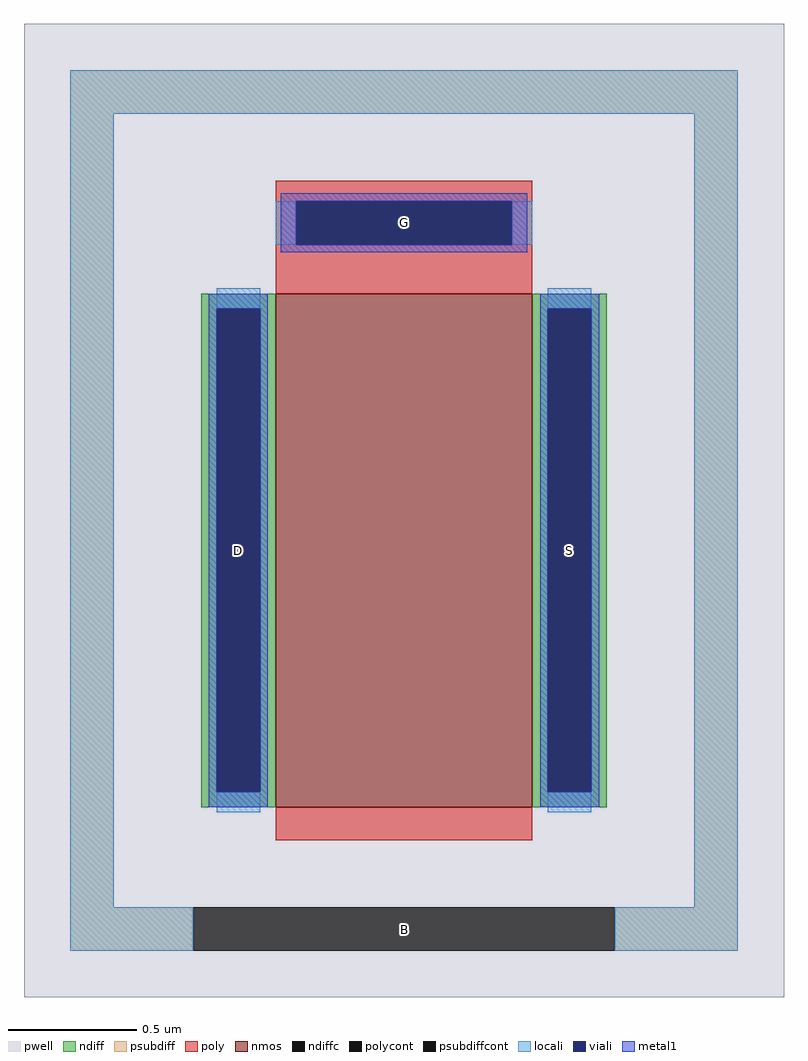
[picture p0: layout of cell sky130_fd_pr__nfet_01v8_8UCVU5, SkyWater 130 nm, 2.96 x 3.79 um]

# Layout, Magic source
magic
tech sky130A
magscale 1 2
<< pwell >>
rect -296 -379 296 379
<< nmos >>
rect -100 -231 100 169
<< ndiff >>
rect -158 157 -100 169
rect -158 -219 -146 157
rect -112 -219 -100 157
rect -158 -231 -100 -219
rect 100 157 158 169
rect 100 -219 112 157
rect 146 -219 158 157
rect 100 -231 158 -219
<< ndiffc >>
rect -146 -219 -112 157
rect 112 -219 146 157
<< psubdiff >>
rect -260 309 260 343
rect -260 -309 -226 309
rect 226 -309 260 309
rect -260 -343 -164 -309
rect 164 -343 260 -309
<< psubdiffcont >>
rect -164 -343 164 -309
<< poly >>
rect -100 241 100 257
rect -100 207 -84 241
rect 84 207 100 241
rect -100 169 100 207
rect -100 -257 100 -231
<< polycont >>
rect -84 207 84 241
<< locali >>
rect -260 309 260 343
rect -260 -309 -226 309
rect -100 207 -84 241
rect 84 207 100 241
rect -146 157 -112 173
rect -146 -235 -112 -219
rect 112 157 146 173
rect 112 -235 146 -219
rect 226 -309 260 309
rect -260 -343 -164 -309
rect 164 -343 260 -309
<< viali >>
rect -84 207 84 241
rect -146 -219 -112 157
rect 112 -219 146 157
<< metal1 >>
rect -96 241 96 247
rect -96 207 -84 241
rect 84 207 96 241
rect -96 201 96 207
rect -152 157 -106 169
rect -152 -219 -146 157
rect -112 -219 -106 157
rect -152 -231 -106 -219
rect 106 157 152 169
rect 106 -219 112 157
rect 146 -219 152 157
rect 106 -231 152 -219
<< labels >>
rlabel psubdiffcont 0 -326 0 -326 0 B
port 1 nsew
rlabel ndiffc -129 -31 -129 -31 0 D
port 2 nsew
rlabel ndiffc 129 -31 129 -31 0 S
port 3 nsew
rlabel polycont 0 224 0 224 0 G
port 4 nsew
<< properties >>
string FIXED_BBOX -243 -326 243 326
string gencell sky130_fd_pr__nfet_01v8
string library sky130
string parameters w 2 l 1 m 1 nf 1 diffcov 100 polycov 100 guard 1 glc 0 grc 0 gtc 0 gbc 1 tbcov 100 rlcov 100 topc 1 botc 0 poverlap 0 doverlap 1 lmin 0.15 wmin 0.42 class mosfet compatible {sky130_fd_pr__nfet_01v8 sky130_fd_pr__nfet_01v8_lvt  sky130_fd_bs_flash__special_sonosfet_star  sky130_fd_pr__nfet_g5v0d10v5 sky130_fd_pr__nfet_05v0_nvt  sky130_fd_pr__nfet_03v3_nvt} full_metal 1 conn_gates 0 viasrc 100 viadrn 100 viagate 100 viagb 0 viagr 0 viagl 0 viagt 0 doports 1
<< end >>
